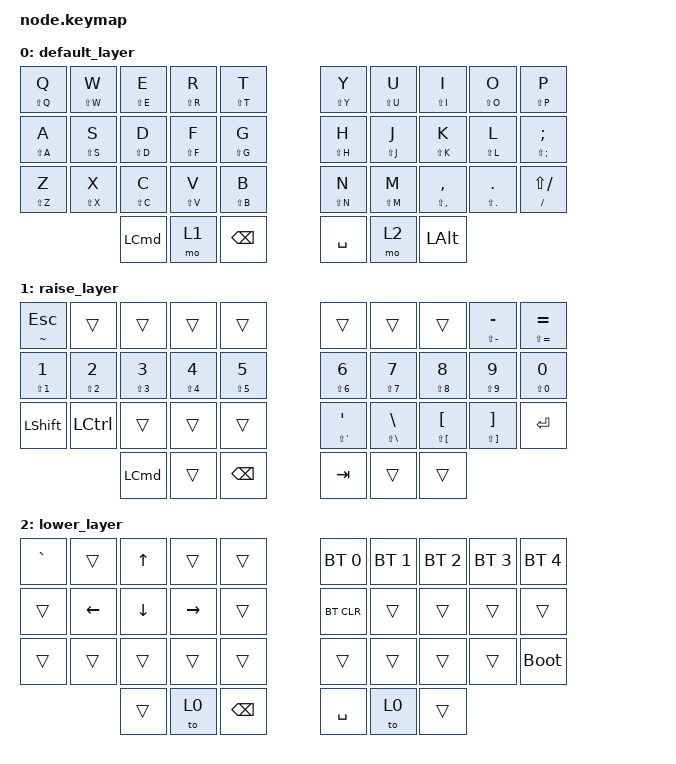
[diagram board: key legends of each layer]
#include <behaviors.dtsi>
#include <dt-bindings/zmk/bt.h>
#include <dt-bindings/zmk/keys.h>

#define DEFAULT 0
#define LOWER   1
#define RAISE   2

/ {
    combos { compatible = "zmk,combos"; };

    behaviors {
        enter_dance: enter_dance {
            compatible = "zmk,behavior-tap-dance";
            #binding-cells = <0>;
            bindings =
                <&auto_shift_short QUESTION ENTER>,
                <&auto_shift_short LS(ENTER) SLASH>;

            tapping-term-ms = <200>;
        };

        auto_shift: auto_shift {
            compatible = "zmk,behavior-hold-tap";
            bindings = <&kp>, <&kp>;

            #binding-cells = <2>;
            flavor = "tap-preferred";
            tapping-term-ms = <150>;
        };

        semi_colon_app_tap: semi_colon_app_tap {
            compatible = "zmk,behavior-tap-dance";
            #binding-cells = <0>;
            bindings =
                <&auto_shift_short LS(SEMI) SEMI>,
                <&auto_shift_short LS(APOSTROPHE) APOSTROPHE>;

            tapping-term-ms = <200>;
        };

        auto_shift_short: auto_shift_short {
            compatible = "zmk,behavior-hold-tap";
            bindings = <&kp>, <&kp>;

            #binding-cells = <2>;
            tapping-term-ms = <100>;
            flavor = "tap-preferred";
        };
    };

    keymap {
        compatible = "zmk,keymap";

        default_layer {
            bindings = <
&auto_shift LS(Q) Q  &auto_shift LS(W) W  &auto_shift LS(E) E  &auto_shift LS(R) R  &auto_shift LS(T) T    &auto_shift LS(Y) Y  &auto_shift LS(U) U  &auto_shift LS(I) I          &auto_shift LS(O) O      &auto_shift LS(P) P
&auto_shift LS(A) A  &auto_shift LS(S) S  &auto_shift LS(D) D  &auto_shift LS(F) F  &auto_shift LS(G) G    &auto_shift LS(H) H  &auto_shift LS(J) J  &auto_shift LS(K) K          &auto_shift LS(L) L      &auto_shift LS(SEMICOLON) SEMICOLON
&auto_shift LS(Z) Z  &auto_shift LS(X) X  &auto_shift LS(C) C  &auto_shift LS(V) V  &auto_shift LS(B) B    &auto_shift LS(N) N  &auto_shift LS(M) M  &auto_shift LS(COMMA) COMMA  &auto_shift LS(DOT) DOT  &auto_shift SLASH LS(SLASH)
                                          &kp LEFT_COMMAND     &mo 1                &kp BACKSPACE          &kp SPACE            &mo 2                &kp LEFT_ALT
            >;
        };

        raise_layer {
            bindings = <
&auto_shift TILDE ESCAPE           &trans                             &trans                             &trans                             &trans                   &trans                                     &trans                               &trans                                     &auto_shift LS(MINUS) MINUS                  &auto_shift LS(EQUAL) EQUAL
&auto_shift LS(NUMBER_1) NUMBER_1  &auto_shift LS(NUMBER_2) NUMBER_2  &auto_shift LS(NUMBER_3) NUMBER_3  &auto_shift LS(NUMBER_4) NUMBER_4  &auto_shift LS(N5) N5    &auto_shift LS(NUMBER_6) NUMBER_6          &auto_shift LS(N7) N7                &auto_shift LS(N8) N8                      &auto_shift LS(N9) N9                        &auto_shift LS(N0) N0
&kp LEFT_SHIFT                     &kp LEFT_CONTROL                   &trans                             &trans                             &trans                   &auto_shift LS(SINGLE_QUOTE) SINGLE_QUOTE  &auto_shift LS(BACKSLASH) BACKSLASH  &auto_shift LS(LEFT_BRACKET) LEFT_BRACKET  &auto_shift LS(RIGHT_BRACKET) RIGHT_BRACKET  &kp ENTER
                                                                      &kp LEFT_COMMAND                   &trans                             &kp BACKSPACE            &kp TAB                                    &trans                               &trans
            >;
        };

        lower_layer {
            bindings = <
&kp GRAVE  &trans    &kp UP_ARROW  &trans     &trans           &bt BT_SEL 0  &bt BT_SEL 1  &bt BT_SEL 2  &bt BT_SEL 3  &bt BT_SEL 4
&trans     &kp LEFT  &kp DOWN      &kp RIGHT  &trans           &bt BT_CLR    &trans        &trans        &trans        &trans
&trans     &trans    &trans        &trans     &trans           &trans        &trans        &trans        &trans        &bootloader
                     &trans        &to 0      &kp BACKSPACE    &kp SPACE     &to 0         &trans
            >;
        };
    };
};
